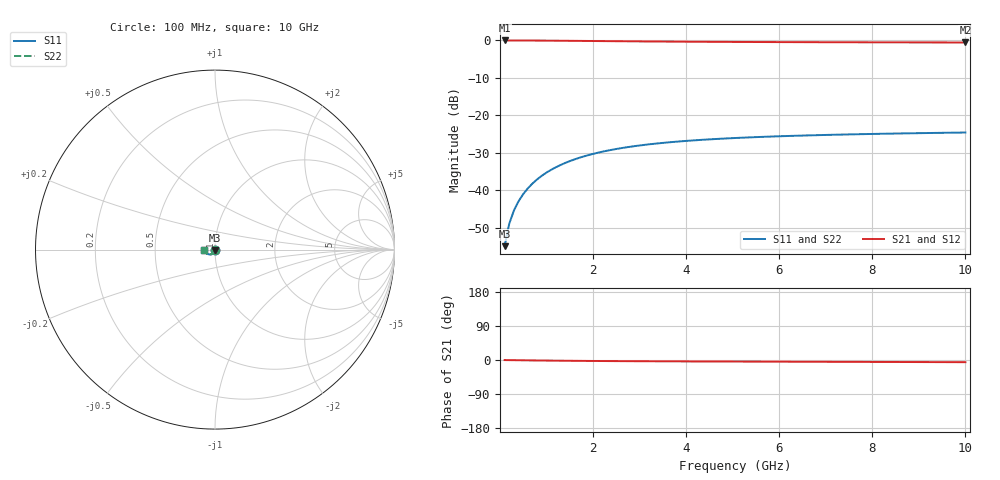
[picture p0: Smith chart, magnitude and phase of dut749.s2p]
! Touchstone file exported from HFSS 2024.1.0
!  File:  C:/UserFiles/LocalFiles/RDL_TSV_Batchsim/temp_TSV1_749_1779871122.aedt
!  Generated:  04:45:17 PM May 27, 2026
!  Design:  TSV1
!  Project:  temp_TSV1_749_1779871122
!  Setup:  Setup1
!  Solution:  Sweep
! Variables:
!  dtsv = 13.22um
!  hbump = 3um
!  htsv = 89.63um
!  lrdl = 252.1521522um
!  p = 40
!  p1 = 56.65um
!  t = 500um
!  trdl = 3um
!  wrdl = 24.89489489um
# GHz S MA R 50.000000
! Terminal data exported
! Port[1] = TSV22_T1
! Port[2] = TSV22_T2
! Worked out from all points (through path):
!   100 points, 100 MHz to 10 GHz, reference 50 ohm
!   highest |S21| = 0.00 dB at 100 MHz (marker M1); lowest = -0.5 dB at 10 GHz (marker M2)
!   lowest |S11| = -54.9 dB at 100 MHz (marker M3), VSWR 1.00, Z = 50 - j0.179 ohm
!   |S11| at or under -10 dB: start of sweep to end of sweep
!   |S22| runs from -54.9 to -24.6 dB; largest |S21 - S12| = 1.1e-14
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0.1  0.001789 -88.9  0.9998 -0.2  0.9998 -0.2  0.001789 -88.9
! Gamma 0 0 0 0
! Port Impedance 50 0 50 0
0.2  0.003573 -92.2  0.9996 -0.3  0.9996 -0.3  0.003573 -92.2
0.3  0.005355 -94.5  0.9993 -0.5  0.9993 -0.5  0.005355 -94.5
0.4  0.007125 -96.7  0.9989 -0.6  0.9989 -0.6  0.007125 -96.7
0.5  0.008878 -98.7  0.9984 -0.8  0.9984 -0.8  0.008878 -98.7
0.6  0.01061 -100.7  0.9977 -0.9  0.9977 -0.9  0.01061 -100.7
0.7  0.01231 -102.6  0.997 -1.1  0.997 -1.1  0.01231 -102.6
0.8  0.01397 -104.5  0.9962 -1.2  0.9962 -1.2  0.01397 -104.5
0.9  0.0156 -106.4  0.9953 -1.4  0.9953 -1.4  0.0156 -106.4
1.1  0.01873 -110.0  0.9934 -1.6  0.9934 -1.6  0.01873 -110.0
1.4  0.0231 -115.1  0.99 -2.0  0.99 -2.0  0.0231 -115.1
1.6  0.02577 -118.4  0.9877 -2.2  0.9877 -2.2  0.02577 -118.4
1.8  0.02825 -121.4  0.9853 -2.4  0.9853 -2.4  0.02825 -121.4
2.1  0.03163 -125.7  0.9816 -2.6  0.9816 -2.6  0.03163 -125.7
2.5  0.03553 -130.9  0.9769 -2.9  0.9769 -2.9  0.03553 -130.9
2.9  0.03882 -135.5  0.9725 -3.2  0.9725 -3.2  0.03882 -135.5
3.4  0.04224 -140.7  0.9676 -3.4  0.9676 -3.4  0.04224 -140.7
4.2  0.04646 -147.6  0.961 -3.8  0.961 -3.8  0.04646 -147.6
5.1  0.04993 -154.0  0.9552 -4.1  0.9552 -4.1  0.04993 -154.0
6.7  0.0541 -163.0  0.9481 -4.7  0.9481 -4.7  0.0541 -163.0
8.4  0.05698 -170.5  0.9432 -5.2  0.9432 -5.2  0.05698 -170.5
10  0.05894 -176.3  0.94 -5.8  0.94 -5.8  0.05894 -176.3
